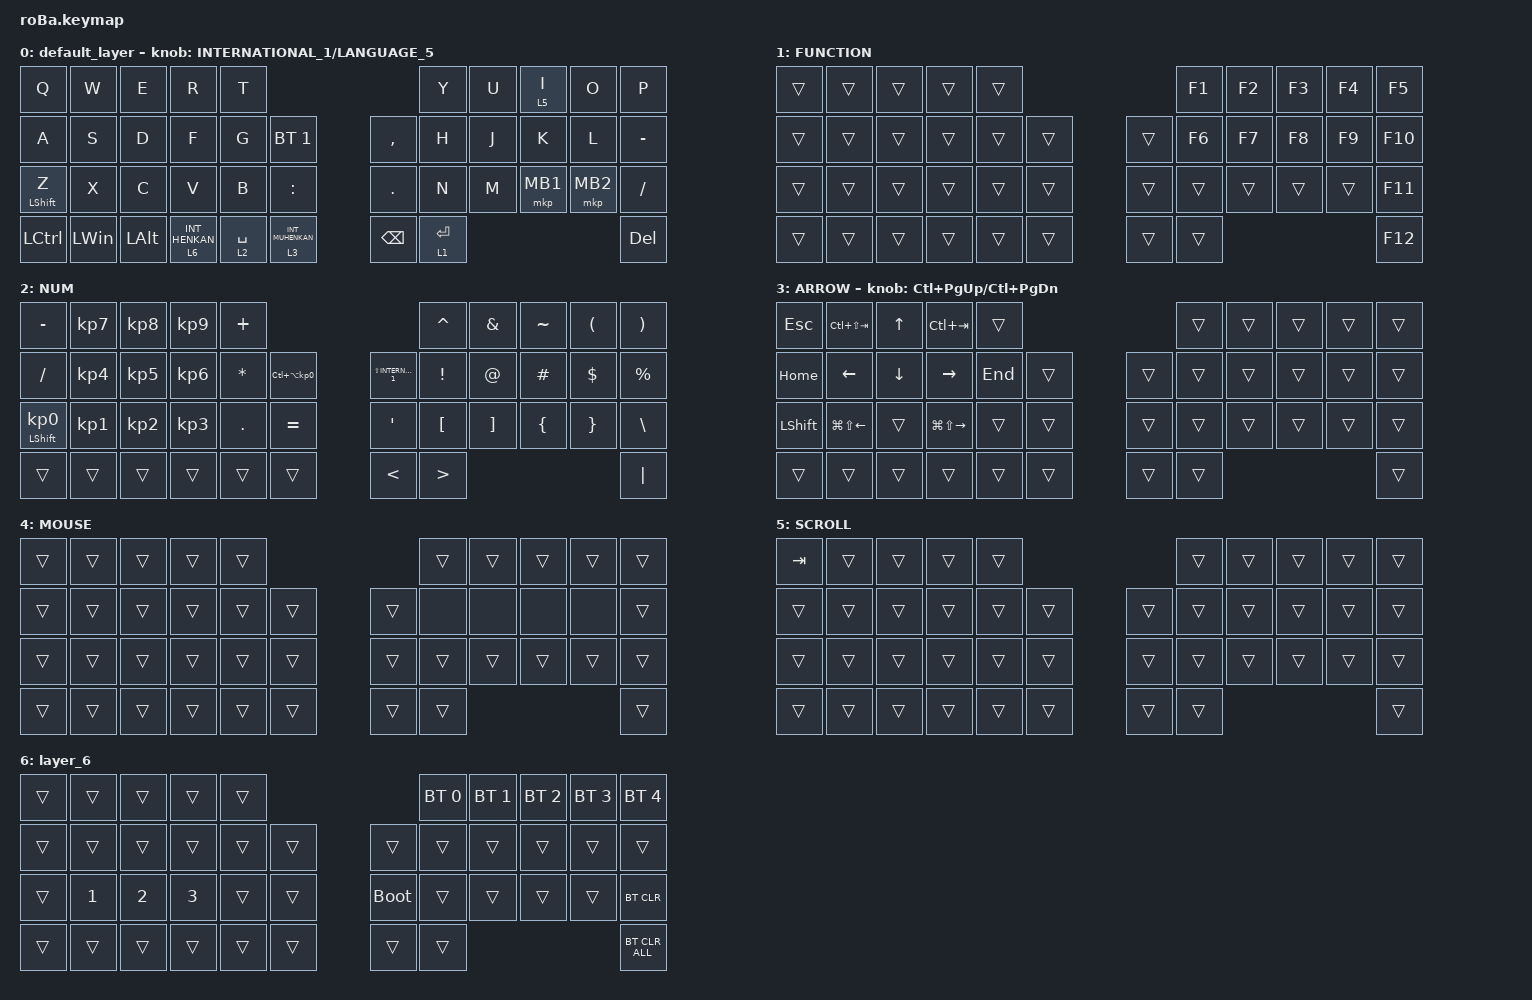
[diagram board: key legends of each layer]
#include <dt-bindings/zmk/mouse.h>
#include <behaviors.dtsi>
#include <dt-bindings/zmk/bt.h>
#include <dt-bindings/zmk/keys.h>
#include <dt-bindings/zmk/pointing.h>

#define MOUSE 4
#define SCROLL 5
#define NUM 6

&mt {
    flavor = "balanced";
    quick-tap-ms = <0>;
};

/ {
    combos {
        compatible = "zmk,combos";

        tab {
            bindings = <&kp TAB>;
            key-positions = <11 12>;
        };

        shift_tab {
            bindings = <&kp LS(TAB)>;
            key-positions = <12 13>;
        };

        muhennkann {
            bindings = <&to_layer_0 INT_MUHENKAN>;
            key-positions = <11 10>;
        };

        double_quotation {
            bindings = <&kp DOUBLE_QUOTES>;
            key-positions = <20 21>;
        };

        eq {
            bindings = <&kp EQUAL>;
            key-positions = <24 25>;
        };
    };

    macros {
        to_layer_0: to_layer_0 {
            compatible = "zmk,behavior-macro-one-param";
            #binding-cells = <1>;
            bindings = <&to 0 &macro_param_1to1 &kp MACRO_PLACEHOLDER>;
            label = "TO_LAYER_0";
        };
    };

    behaviors {
        lt_to_layer_0: lt_to_layer_0 {
            compatible = "zmk,behavior-hold-tap";
            label = "LAYER_TAP_TO_0";
            bindings = <&mo>, <&to_layer_0>;

            #binding-cells = <2>;
            tapping-term-ms = <200>;
        };

        new_behavior: new_behavior {
            compatible = "zmk,behavior-sensor-rotate";
            label = "NEW_BEHAVIOR";
            #sensor-binding-cells = <0>;
            bindings = <&kp PAGE_UP>, <&kp PAGE_DOWN>;

            tap-ms = <1>;
        };
    };

    keymap {
        compatible = "zmk,keymap";

        default_layer {
            bindings = <
&kp Q             &kp W         &kp E         &kp R                        &kp T                                                        &kp Y        &kp U  &lt 5 I   &kp O     &kp P
&kp A             &kp S         &kp D         &kp F                        &kp G        &bt BT_SEL 1                     &kp COMMA      &kp H        &kp J  &kp K     &kp L     &kp MINUS
&mt LEFT_SHIFT Z  &kp X         &kp C         &kp V                        &kp B        &kp COLON                        &kp PERIOD     &kp N        &kp M  &mkp MB1  &mkp MB2  &kp SLASH
&kp LCTRL         &kp LEFT_WIN  &kp LEFT_ALT  &lt_to_layer_0 6 INT_HENKAN  &lt 2 SPACE  &lt_to_layer_0 3 INT_MUHENKAN    &kp BACKSPACE  &lt 1 ENTER                             &kp DEL
            >;

            sensor-bindings = <&inc_dec_kp INTERNATIONAL_1 LANGUAGE_5>;
        };

        FUNCTION {
            bindings = <
&trans  &trans  &trans  &trans  &trans                    &kp F1  &kp F2  &kp F3  &kp F4  &kp F5
&trans  &trans  &trans  &trans  &trans  &trans    &trans  &kp F6  &kp F7  &kp F8  &kp F9  &kp F10
&trans  &trans  &trans  &trans  &trans  &trans    &trans  &trans  &trans  &trans  &trans  &kp F11
&trans  &trans  &trans  &trans  &trans  &trans    &trans  &trans                          &kp F12
            >;
        };

        NUM {
            bindings = <
&kp MINUS                   &kp KP_NUMBER_7  &kp KP_NUMBER_8  &kp KP_NUMBER_9  &kp PLUS                                                          &kp CARET         &kp AMPERSAND      &kp TILDE       &kp LEFT_PARENTHESIS  &kp RIGHT_PARENTHESIS
&kp SLASH                   &kp KP_NUMBER_4  &kp KP_NUMBER_5  &kp KP_NUMBER_6  &kp ASTERISK  &kp LC(LA(KP_NUMBER_0))    &kp LS(INTERNATIONAL_1)  &kp EXCLAMATION   &kp AT_SIGN        &kp HASH        &kp DOLLAR            &kp PERCENT
&mt LEFT_SHIFT KP_NUMBER_0  &kp KP_NUMBER_1  &kp KP_NUMBER_2  &kp KP_NUMBER_3  &kp PERIOD    &kp EQUAL                  &kp SQT                  &kp LEFT_BRACKET  &kp RIGHT_BRACKET  &kp LEFT_BRACE  &kp RIGHT_BRACE       &kp BACKSLASH
&trans                      &trans           &trans           &trans           &trans        &trans                     &kp LESS_THAN            &kp GREATER_THAN                                                           &kp PIPE
            >;
        };

        ARROW {
            bindings = <
&kp ESCAPE      &kp LC(LS(TAB))         &kp UP_ARROW    &kp LC(TAB)              &trans                     &trans  &trans  &trans  &trans  &trans
&kp HOME        &kp LEFT_ARROW          &kp DOWN_ARROW  &kp RIGHT_ARROW          &kp END  &trans    &trans  &trans  &trans  &trans  &trans  &trans
&kp LEFT_SHIFT  &kp LG(LS(LEFT_ARROW))  &trans          &kp LG(LS(RIGHT_ARROW))  &trans   &trans    &trans  &trans  &trans  &trans  &trans  &trans
&trans          &trans                  &trans          &trans                   &trans   &trans    &trans  &trans                          &trans
            >;

            sensor-bindings = <&inc_dec_kp LC(PAGE_UP) LC(PAGE_DOWN)>;
        };

        MOUSE {
            bindings = <
&trans  &trans  &trans  &trans  &trans                    &trans  &trans  &trans  &trans  &trans
&trans  &trans  &trans  &trans  &trans  &trans    &trans  &none   &none   &none   &none   &trans
&trans  &trans  &trans  &trans  &trans  &trans    &trans  &trans  &trans  &trans  &trans  &trans
&trans  &trans  &trans  &trans  &trans  &trans    &trans  &trans                          &trans
            >;
        };

        SCROLL {
            bindings = <
&kp TAB  &trans  &trans  &trans  &trans                    &trans  &trans  &trans  &trans  &trans
&trans   &trans  &trans  &trans  &trans  &trans    &trans  &trans  &trans  &trans  &trans  &trans
&trans   &trans  &trans  &trans  &trans  &trans    &trans  &trans  &trans  &trans  &trans  &trans
&trans   &trans  &trans  &trans  &trans  &trans    &trans  &trans                          &trans
            >;
        };

        layer_6 {
            bindings = <
&trans  &trans        &trans        &trans        &trans                         &bt BT_SEL 0  &bt BT_SEL 1  &bt BT_SEL 2  &bt BT_SEL 3  &bt BT_SEL 4
&trans  &trans        &trans        &trans        &trans  &trans    &trans       &trans        &trans        &trans        &trans        &trans
&trans  &kp NUMBER_1  &kp NUMBER_2  &kp NUMBER_3  &trans  &trans    &bootloader  &trans        &trans        &trans        &trans        &bt BT_CLR
&trans  &trans        &trans        &trans        &trans  &trans    &trans       &trans                                                  &bt BT_CLR_ALL
            >;
        };
    };
};
